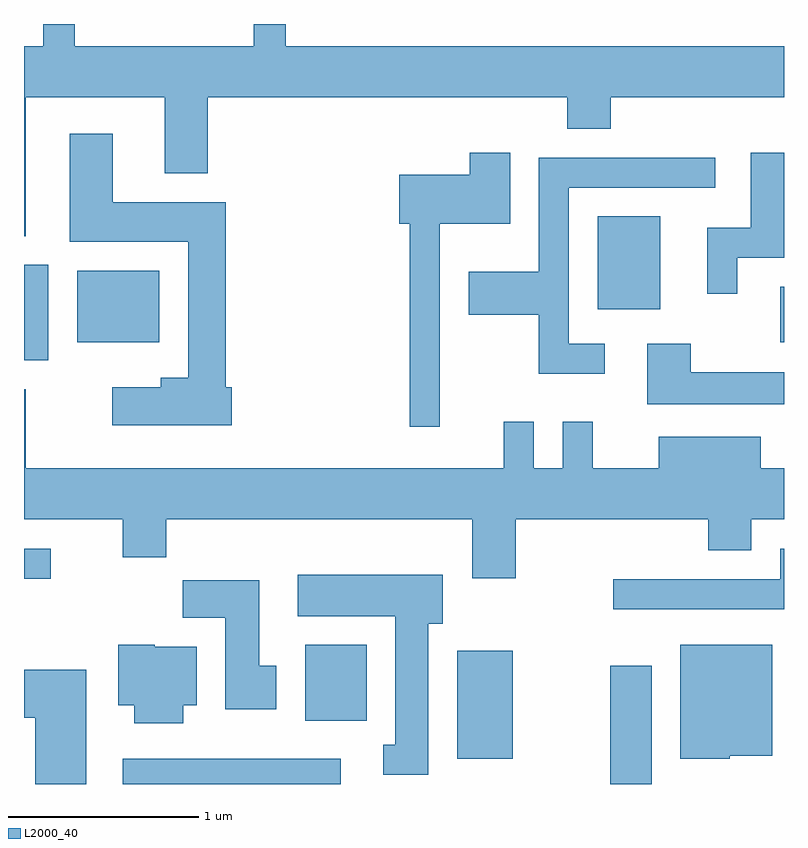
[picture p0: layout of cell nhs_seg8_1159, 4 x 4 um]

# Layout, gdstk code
import gdstk
lib = gdstk.Library(unit=1e-6, precision=1e-09)
def R(c, l, rs):  # rectangles x0, y0, x1, y1
    for r in rs: c.add(gdstk.rectangle(r[:2], r[2:], *l))
def P(c, l, *ps):  # polygons
    for p in ps: c.add(gdstk.Polygon(p, *l))
L2000_40 = (2000, 40)

nhs_seg8_1159 = lib.new_cell('nhs_seg8_1159')
R(nhs_seg8_1159, L2000_40, [(220.131,1848.342,221.279,1848.474), (222.696,1848.342,222.914,1848.964), (221.891,1848.476,222.184,1849.044), (221.091,1848.676,221.414,1849.074), (219.611,1849.421,219.753,1849.579), (219.611,1850.571,219.739,1851.074), (219.891,1850.666,220.324,1851.044), (223.591,1850.666,223.611,1850.959), (222.631,1850.841,222.959,1851.329)])
P(nhs_seg8_1159, L2000_40, [(219.619,1851.956),(220.351,1851.956),(220.351,1851.556),(220.579,1851.556),(220.579,1851.956),(222.471,1851.956),(222.471,1851.791),(222.699,1851.791),(222.699,1851.956),(223.611,1851.956),(223.611,1852.224),(220.989,1852.224),(220.989,1852.342),(220.821,1852.342),(220.821,1852.224),(219.879,1852.224),(219.879,1852.342),(219.711,1852.342),(219.711,1852.224),(219.611,1852.224),(219.611,1851.226),(219.619,1851.226)],
  [(220.704,1850.429),(220.674,1850.429),(220.674,1851.404),(220.079,1851.404),(220.079,1851.764),(219.851,1851.764),(219.851,1851.196),(220.476,1851.196),(220.476,1850.479),(220.331,1850.479),(220.331,1850.429),(220.076,1850.429),(220.076,1850.231),(220.704,1850.231)],
  [(223.364,1851.111),(223.611,1851.111),(223.611,1851.664),(223.436,1851.664),(223.436,1851.269),(223.206,1851.269),(223.206,1850.923),(223.364,1850.923)],
  [(221.799,1851.291),(222.169,1851.291),(222.169,1851.664),(221.956,1851.664),(221.956,1851.549),(221.586,1851.549),(221.586,1851.291),(221.641,1851.291),(221.641,1850.223),(221.799,1850.223)],
  [(222.668,1850.659),(222.479,1850.659),(222.479,1851.481),(223.248,1851.481),(223.248,1851.639),(222.321,1851.639),(222.321,1851.039),(221.951,1851.039),(221.951,1850.811),(222.321,1850.811),(222.321,1850.501),(222.668,1850.501)],
  [(223.611,1850.509),(223.119,1850.509),(223.119,1850.659),(222.891,1850.659),(222.891,1850.341),(223.611,1850.341)],
  [(222.199,1849.736),(223.211,1849.736),(223.211,1849.571),(223.439,1849.571),(223.439,1849.736),(223.611,1849.736),(223.611,1850.004),(223.489,1850.004),(223.489,1850.169),(222.951,1850.169),(222.951,1850.004),(222.604,1850.004),(222.604,1850.248),(222.446,1850.248),(222.446,1850.004),(222.294,1850.004),(222.294,1850.248),(222.136,1850.248),(222.136,1850.004),(219.619,1850.004),(219.619,1850.419),(219.611,1850.419),(219.611,1849.736),(220.131,1849.736),(220.131,1849.536),(220.359,1849.536),(220.359,1849.736),(221.971,1849.736),(221.971,1849.426),(222.199,1849.426)],
  [(223.611,1849.579),(223.591,1849.579),(223.591,1849.419),(222.713,1849.419),(222.713,1849.261),(223.611,1849.261)],
  [(221.739,1849.186),(221.814,1849.186),(221.814,1849.444),(221.051,1849.444),(221.051,1849.226),(221.566,1849.226),(221.566,1848.549),(221.503,1848.549),(221.503,1848.391),(221.739,1848.391)],
  [(220.939,1848.964),(220.849,1848.964),(220.849,1849.414),(220.446,1849.414),(220.446,1849.216),(220.671,1849.216),(220.671,1848.736),(220.939,1848.736)],
  [(220.449,1848.756),(220.519,1848.756),(220.519,1849.064),(220.3,1849.064),(220.3,1849.074),(220.106,1849.074),(220.106,1848.756),(220.191,1848.756),(220.191,1848.661),(220.449,1848.661)],
  [(223.325,1848.491),(223.549,1848.491),(223.549,1849.074),(223.066,1849.074),(223.066,1848.476),(223.325,1848.476)],
  [(219.939,1848.944),(219.611,1848.944),(219.611,1848.691),(219.671,1848.691),(219.671,1848.342),(219.939,1848.342)])

lib.write_gds('nhs_seg8_1159.gds')
